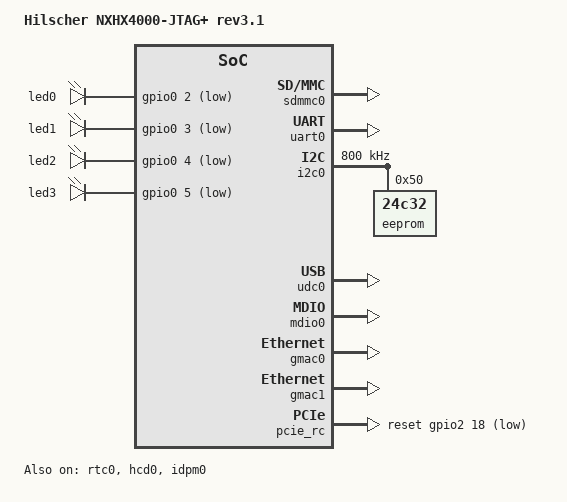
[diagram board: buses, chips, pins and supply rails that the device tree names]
/*
* Device tree for Hilscher netX4000 based NXHX4000-JTAG+ rev3 boards
*
* arch/arm/boot/dts/netx4000/nxhx4000-jtag-plus-rev3.dts
*
* (C) Copyright 2015 Hilscher Gesellschaft fuer Systemautomation mbH
* http://www.hilscher.com
*
* This program is free software; you can redistribute it and/or
* modify it under the terms of the GNU General Public License as
* published by the Free Software Foundation; version 2 of
* the License.
*
* This program is distributed in the hope that it will be useful,
* but WITHOUT ANY WARRANTY; without even the implied warranty of
* MERCHANTABILITY or FITNESS FOR A PARTICULAR PURPOSE.  See the
* GNU General Public License for more details.
*
*/

/dts-v1/;

#include "netx4000-common.dtsi"

/ {
	model = "Hilscher NXHX4000-JTAG+ rev3.1";
	compatible = "hilscher,netx4000";

	chosen {
		linux,stdout-path = &uart0;
	};

	memory {
		device_type = "memory";
		reg = <0x0 0x0>; /* will be filled by bootloader */
	};

	leds {
		compatible = "gpio-leds";

		led0 {
			gpios = <&gpio0 2 GPIO_ACTIVE_LOW>;
			linux,default-trigger = "none";
			default-state = "off";
		};
		led1 {
			gpios = <&gpio0 3 GPIO_ACTIVE_LOW>;
			linux,default-trigger = "none";
			default-state = "off";
		};
		led2 {
			gpios = <&gpio0 4 GPIO_ACTIVE_LOW>;
			linux,default-trigger = "none";
			default-state = "off";
		};
		led3 {
			gpios = <&gpio0 5 GPIO_ACTIVE_LOW>;
			linux,default-trigger = "none";
			default-state = "off";
		};
	};
};

/* Static platform gpio pins */
&pinctrl {
	pinctrl-single,gpio-range0 = <
// 		MUX_PIN(3,2)  (REEMUX_1 | REEMUX_DRV_08MA | REEMUX_UDC_NONE)        // mmio2  / gpio0.2  / led p300
// 		MUX_PIN(3,3)  (REEMUX_1 | REEMUX_DRV_08MA | REEMUX_UDC_NONE)        // mmio3  / gpio0.3  / led p301
// 		MUX_PIN(3,4)  (REEMUX_1 | REEMUX_DRV_08MA | REEMUX_UDC_NONE)        // mmio4  / gpio0.4  / led p302
// 		MUX_PIN(3,5)  (REEMUX_1 | REEMUX_DRV_08MA | REEMUX_UDC_NONE)        // mmio5  / gpio0.5  / led p303
// 		MUX_PIN(3,6)  (REEMUX_1 | REEMUX_DRV_04MA | REEMUX_UDC_PULLDOWN50K) // mmio6  / gpio0.6  / s301-a
// 		MUX_PIN(3,7)  (REEMUX_1 | REEMUX_DRV_04MA | REEMUX_UDC_PULLDOWN50K) // mmio7  / gpio0.7  / s301-b
// 		MUX_PIN(3,8)  (REEMUX_1 | REEMUX_DRV_04MA | REEMUX_UDC_PULLDOWN50K) // mmio8  / gpio0.8  / s301-c
// 		MUX_PIN(3,9)  (REEMUX_1 | REEMUX_DRV_04MA | REEMUX_UDC_PULLDOWN50K) // mmio9  / gpio0.9  / s301-d
// 		MUX_PIN(3,14) (REEMUX_1 | REEMUX_DRV_12MA | REEMUX_UDC_PULLDOWN50K) // mmio14 / gpio0.14 / x1602.10
		&range (MUX_PIN(3,2)/4) 4 (REEMUX_1 | REEMUX_DRV_08MA | REEMUX_UDC_NONE)
		&range (MUX_PIN(3,6)/4) 4 (REEMUX_1 | REEMUX_DRV_04MA | REEMUX_UDC_PULLDOWN50K)
		&range (MUX_PIN(3,14)/4) 1 (REEMUX_1 | REEMUX_DRV_12MA | REEMUX_UDC_PULLDOWN50K)

// 		MUX_PIN(4,4)  (REEMUX_1 | REEMUX_DRV_12MA | REEMUX_UDC_PULLDOWN50K) // mmio20 / gpio1.4  / x1601.7
// 		MUX_PIN(4,5)  (REEMUX_1 | REEMUX_DRV_12MA | REEMUX_UDC_PULLDOWN50K) // mmio21 / gpio1.5  / x1601.8
// 		MUX_PIN(4,6)  (REEMUX_1 | REEMUX_DRV_12MA | REEMUX_UDC_PULLDOWN50K) // mmio22 / gpio1.6  / x1601.9
// 		MUX_PIN(4,7)  (REEMUX_1 | REEMUX_DRV_12MA | REEMUX_UDC_PULLDOWN50K) // mmio23 / gpio1.7  / x1601.10
// 		MUX_PIN(4,8)  (REEMUX_1 | REEMUX_DRV_12MA | REEMUX_UDC_PULLDOWN50K) // mmio24 / gpio1.8  / x1800.15
// 		MUX_PIN(4,9)  (REEMUX_1 | REEMUX_DRV_12MA | REEMUX_UDC_PULLDOWN50K) // mmio25 / gpio1.9  / x1800.17
// 		MUX_PIN(4,14) (REEMUX_1 | REEMUX_DRV_12MA | REEMUX_UDC_PULLDOWN50K) // mmio30 / gpio1.14 / x1601.2
// 		MUX_PIN(4,15) (REEMUX_1 | REEMUX_DRV_12MA | REEMUX_UDC_PULLDOWN50K) // mmio31 / gpio1.15 / x1601.1
		&range (MUX_PIN(4,4)/4) 6 (REEMUX_1 | REEMUX_DRV_12MA | REEMUX_UDC_PULLDOWN50K)
		&range (MUX_PIN(4,14)/4) 2 (REEMUX_1 | REEMUX_DRV_12MA | REEMUX_UDC_PULLDOWN50K)

// 		MUX_PIN(5,0)  (REEMUX_1 | REEMUX_DRV_12MA | REEMUX_UDC_PULLDOWN50K) // mmio32 / gpio2.0  / x1601.4
// 		MUX_PIN(5,1)  (REEMUX_1 | REEMUX_DRV_12MA | REEMUX_UDC_PULLDOWN50K) // mmio33 / gpio2.1  / x1601.3
// 		MUX_PIN(5,6)  (REEMUX_1 | REEMUX_DRV_12MA | REEMUX_UDC_PULLDOWN50K) // mmio38 / gpio2.6  / x1800.23
// 		MUX_PIN(5,7)  (REEMUX_1 | REEMUX_DRV_12MA | REEMUX_UDC_PULLDOWN50K) // mmio39 / gpio2.7  / x1800.25
// 		MUX_PIN(5,8)  (REEMUX_1 | REEMUX_DRV_12MA | REEMUX_UDC_PULLDOWN50K) // mmio40 / gpio2.8  / x1800.27
// 		MUX_PIN(5,9)  (REEMUX_1 | REEMUX_DRV_12MA | REEMUX_UDC_PULLDOWN50K) // mmio41 / gpio2.9  / x1800.28
// 		MUX_PIN(5,10) (REEMUX_1 | REEMUX_DRV_12MA | REEMUX_UDC_PULLDOWN50K) // mmio42 / gpio2.10 / x1800.29
// 		MUX_PIN(5,11) (REEMUX_1 | REEMUX_DRV_12MA | REEMUX_UDC_PULLDOWN50K) // mmio43 / gpio2.11 / x1602.2
// 		MUX_PIN(5,12) (REEMUX_1 | REEMUX_DRV_12MA | REEMUX_UDC_PULLDOWN50K) // mmio44 / gpio2.12 / x1602.1
// 		MUX_PIN(6,9)  (REEMUX_1 | REEMUX_DRV_12MA | REEMUX_UDC_PULLDOWN50K) // mmio57 / gpio2.25 / x1602.4
// 		MUX_PIN(6,10) (REEMUX_1 | REEMUX_DRV_12MA | REEMUX_UDC_PULLDOWN50K) // mmio58 / gpio2.26 / x1602.3
// 		MUX_PIN(6,11) (REEMUX_1 | REEMUX_DRV_12MA | REEMUX_UDC_PULLDOWN50K) // mmio59 / gpio2.27 / x1602.7
// 		MUX_PIN(6,12) (REEMUX_1 | REEMUX_DRV_12MA | REEMUX_UDC_PULLDOWN50K) // mmio60 / gpio2.28 / x1602.8
// 		MUX_PIN(6,13) (REEMUX_1 | REEMUX_DRV_12MA | REEMUX_UDC_PULLDOWN50K) // mmio61 / gpio2.29 / x1602.9
		&range (MUX_PIN(5,0)/4) 2 (REEMUX_1 | REEMUX_DRV_12MA | REEMUX_UDC_PULLDOWN50K)
		&range (MUX_PIN(5,6)/4) 7 (REEMUX_1 | REEMUX_DRV_12MA | REEMUX_UDC_PULLDOWN50K)
		&range (MUX_PIN(6,9)/4) 5 (REEMUX_1 | REEMUX_DRV_12MA | REEMUX_UDC_PULLDOWN50K)

		/* pcie-rc */
		&range (MUX_PIN(6,2)/4)  1 (REEMUX_1 | REEMUX_DRV_04MA | REEMUX_UDC_PULLDOWN50K) // mmio50 / gpio2_18 / reset-gpio
		&range (MUX_PIN(6,14)/4) 1 (REEMUX_1 | REEMUX_DRV_04MA | REEMUX_UDC_PULLDOWN50K) // mmio62 / gpio2_30 / wake-gpio
		&range (MUX_PIN(6,15)/4) 1 (REEMUX_1 | REEMUX_DRV_04MA | REEMUX_UDC_PULLDOWN50K) // mmio63 / gpio2_31 / clkreq-gpio
	>;
};

&sdmmc0 {
	status = "ok";
};

&rtc0 {
	status = "ok";
};

&uart0 {
	status = "ok";
	pinctrl-names = "default";
	pinctrl-0 = <&uart0_pins>;
};

&i2c0 {
	status = "ok";
	clock-frequency = <800000>;
	/* Uncomment the line below to enable the polling mode. */
//	interrupts = <0>;
	#address-cells = <1>;
	#size-cells = <0>;
	eeprom@50 {
		/* The 'NXHX4000 JTAG+ rev3' board is populated with a 24FC1025.
		 * We use the 24c32 only for testing (16bit access!). */
		compatible = "24c32";
		reg = <0x50>;
		pagesize = <128>;
	};
};

&hcd0 {
	status = "ok";
	num-ports = <1>; /* 1 or 2 */
	pinctrl-names = "default";
	pinctrl-0 = <&hcd0_0_pins>;
};

&udc0 {
	status = "ok";
	pinctrl-names = "default";
	pinctrl-0 = <&hcd0_1_pins>;
};

&mdio0 {
	status = "ok";
};

&gmac0 {
	status = "ok";
};

&gmac1 {
	status = "ok";
};

&idpm0 {
	status = "ok";
};

&pcie_rc {
	status = "ok";
	reset-gpio   = <&gpio2 18 GPIO_ACTIVE_LOW>;
	wake-gpio    = <&gpio2 30 GPIO_ACTIVE_LOW>;
	clkreq-gpio  = <&gpio2 31 GPIO_ACTIVE_LOW>;
};
